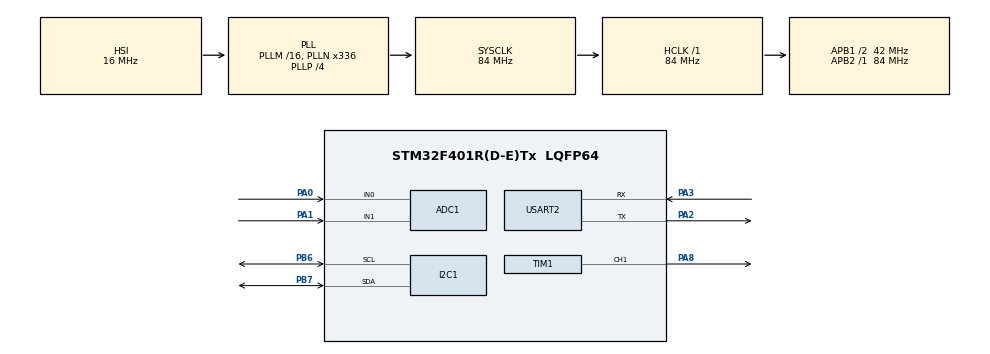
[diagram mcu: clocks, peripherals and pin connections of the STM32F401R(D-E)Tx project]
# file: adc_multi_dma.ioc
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ADC1.Channel-2\#ChannelRegularConversion=ADC_CHANNEL_1
ADC1.NbrOfConversion=2
ADC1.NbrOfConversionFlag=1
ADC1.Rank-2\#ChannelRegularConversion=2
ADC1.SamplingTime-0\#ChannelRegularConversion=ADC_SAMPLETIME_480CYCLES
ADC1.SamplingTime-2\#ChannelRegularConversion=ADC_SAMPLETIME_480CYCLES
ADC1.ScanConvMode=ENABLE
ADC1.master=1
Dma.ADC1.0.Direction=DMA_PERIPH_TO_MEMORY
Dma.ADC1.0.FIFOMode=DMA_FIFOMODE_DISABLE
Dma.ADC1.0.Instance=DMA2_Stream0
Dma.ADC1.0.MemDataAlignment=DMA_MDATAALIGN_HALFWORD
Dma.ADC1.0.MemInc=DMA_MINC_ENABLE
Dma.ADC1.0.Mode=DMA_NORMAL
Dma.ADC1.0.PeriphDataAlignment=DMA_PDATAALIGN_HALFWORD
Dma.ADC1.0.PeriphInc=DMA_PINC_DISABLE
Dma.ADC1.0.Priority=DMA_PRIORITY_LOW
Dma.Request0=ADC1
I2C1.DutyCycle=I2C_DUTYCYCLE_2
I2C1.I2C_Mode=I2C_Fast
Mcu.Family=STM32F4
Mcu.Name=STM32F401R(D-E)Tx
Mcu.Package=LQFP64
NVIC.ADC_IRQn=true\:0\:0\:true\:false\:true\:true\:true\:true
NVIC.DMA2_Stream0_IRQn=true\:0\:0\:false\:false\:true\:false\:true\:true
NVIC.PriorityGroup=NVIC_PRIORITYGROUP_0
PA0-WKUP.Signal=ADCx_IN0
PA1.Signal=ADCx_IN1
PA13.Mode=Serial_Wire
PA13.Signal=SYS_JTMS-SWDIO
PA14.Mode=Serial_Wire
PA14.Signal=SYS_JTCK-SWCLK
PA2.Mode=Asynchronous
PA2.Signal=USART2_TX
PA3.Mode=Asynchronous
PA3.Signal=USART2_RX
PA8.Signal=S_TIM1_CH1
PB6.Mode=I2C
PB6.Signal=I2C1_SCL
PB7.Mode=I2C
PB7.Signal=I2C1_SDA
ProjectManager.HeapSize=0x200
ProjectManager.StackSize=0x400
ProjectManager.TargetToolchain=STM32CubeIDE
RCC.AHBFreq_Value=84000000
RCC.APB1CLKDivider=RCC_HCLK_DIV2
RCC.APB1Freq_Value=42000000
RCC.APB1TimFreq_Value=84000000
RCC.APB2Freq_Value=84000000
RCC.APB2TimFreq_Value=84000000
RCC.CortexFreq_Value=84000000
RCC.HCLKFreq_Value=84000000
RCC.HSE_VALUE=8000000
RCC.HSI_VALUE=16000000
RCC.LSE_VALUE=32768
RCC.PLLN=336
RCC.PLLP=RCC_PLLP_DIV4
RCC.PLLQ=7
RCC.SYSCLKFreq_VALUE=84000000
RCC.SYSCLKSource=RCC_SYSCLKSOURCE_PLLCLK
RCC.VCOOutputFreq_Value=336000000
RTC.Date=17
RTC.Format=RTC_FORMAT_BIN
RTC.Hours=22
RTC.Minutes=21
RTC.Month=RTC_MONTH_JUNE
RTC.WeekDay=RTC_WEEKDAY_TUESDAY
SH.ADCx_IN0.0=ADC1_IN0,IN0
SH.ADCx_IN1.0=ADC1_IN1,IN1
SH.S_TIM1_CH1.0=TIM1_CH1,PWM Generation1 CH1
TIM1.Channel-PWM\ Generation1\ CH1=TIM_CHANNEL_1
TIM1.Period=100
TIM1.Prescaler=84-1
TIM1.Pulse-PWM\ Generation1\ CH1=100
USART2.VirtualMode=VM_ASYNC
VP_RTC_VS_RTC_Activate.Mode=RTC_Enabled
VP_RTC_VS_RTC_Calendar.Mode=RTC_Calendar
VP_TIM1_VS_ClockSourceINT.Mode=Internal
board=NUCLEO-F401RE

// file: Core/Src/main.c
/* USER CODE BEGIN Header */
/**
  ******************************************************************************
  * @file           : main.c
  * @brief          : Main program body
  ******************************************************************************
  * @attention
  *
  * Copyright (c) 2025 STMicroelectronics.
  * All rights reserved.
  *
  * This software is licensed under terms that can be found in the LICENSE file
  * in the root directory of this software component.
  * If no LICENSE file comes with this software, it is provided AS-IS.
  *
  ******************************************************************************
  */

/*
 * moisture 100% = (2020, 2050)
 * moisture 0%   = (4070. 4095)
 *
 * flux 100% => adc_val = 75
 * flux 0%   => adc_val = 4095
 *
 *
 */
/* USER CODE END Header */
#include "main.h"

/* USER CODE BEGIN Includes */
#include "main.h"
#include "adc.h"
#include "math.h"
#include "string.h"
#include "stdio.h"
#include "ssd1306.h"
#include "ssd1306_tests.h"
#include "ssd1306_fonts.h"

/* USER CODE END Includes */

I2C_HandleTypeDef hi2c1;

RTC_HandleTypeDef hrtc;

TIM_HandleTypeDef htim1;

UART_HandleTypeDef huart2;

/* USER CODE BEGIN PV */

float lux_percent;
float moisture_percent;

uint8_t data_0[]  = {0};
uint16_t data_25[] = {65000};
uint8_t data_50[] = {50};
uint8_t data_100[]= {100};

char time_buffer[100];		//buffer that will hold data for time and date
char disp_buffer[100];

/* USER CODE END PV */

void SystemClock_Config(void);
static void MX_GPIO_Init(void);
static void MX_DMA_Init(void);
static void MX_ADC1_Init(void);
static void MX_TIM1_Init(void);
static void MX_I2C1_Init(void);
static void MX_RTC_Init(void);
static void MX_USART2_UART_Init(void);
/* USER CODE BEGIN PFP */

void SystemClock_Config(void);
static void MX_GPIO_Init(void);
static void MX_DMA_Init(void);
float ConvertToMoisturePercent(uint16_t adc_value);
float ConvertToLuxPercent(uint16_t adc_value);

/* USER CODE END PFP */

int main(void)
{

  /* MCU Configuration--------------------------------------------------------*/

  /* Reset of all peripherals, Initializes the Flash interface and the Systick. */
  HAL_Init();

  /* Configure the system clock */
  SystemClock_Config();

  /* Initialize all configured peripherals */
  MX_GPIO_Init();
  MX_DMA_Init();
  MX_ADC1_Init();
  MX_TIM1_Init();
  MX_I2C1_Init();
  MX_RTC_Init();
  MX_USART2_UART_Init();
  /* USER CODE BEGIN 2 */
  My_ADC_Init();
  MX_TIM1_Init();
  ssd1306_Init();

  //IT STARTS
  /*
   * I CAN USE THIS FOR CONTROLOING THE LIGHT FOR THE PLANT
   *
   */HAL_TIM_PWM_Start_DMA(&htim1, TIM_CHANNEL_1, (uint32_t *)data_0, 1);
   RTC_TimeTypeDef	sTime;
   RTC_DateTypeDef sDate;

  /* USER CODE END 2 */

  /* Infinite loop */
  while (1)
  {

    /* USER CODE BEGIN 3 */

      __HAL_TIM_SET_COMPARE(&htim1, TIM_CHANNEL_1, 1000); // 50% duty cycle (500/1000)
      HAL_TIM_PWM_Start(&htim1, TIM_CHANNEL_1);

      // Change duty cycle
      __HAL_TIM_SET_COMPARE(&htim1, TIM_CHANNEL_1, 1000); // 75% duty

      // Stop PWM
      HAL_TIM_PWM_Stop(&htim1, TIM_CHANNEL_1);

	  HAL_RTC_GetTime(&hrtc, &sTime, RTC_FORMAT_BIN); // to get time
	  HAL_RTC_GetDate(&hrtc, &sDate, RTC_FORMAT_BIN);	// to get date

	  //format time and data into string
	  //TODO make a seprate file with RTC and make function to do this
	  sprintf(time_buffer, "H:%02d:%02d,D:%02d:%02d:%02d\r\n",
	          sTime.Hours, sTime.Minutes,
	          sDate.Date, sDate.Month, sDate.Year+2000);

	  HAL_UART_Transmit(&huart2, (uint8_t*)time_buffer, strlen(time_buffer), HAL_MAX_DELAY);

	  //transmit string to uart for debugging
	  //Todo transmit this to 0.96 display

      uint16_t current_lux, current_moisture;

      ADC_GetValues(&current_lux, &current_moisture);

      moisture_percent = ConvertToMoisturePercent(current_moisture);
      lux_percent = ConvertToLuxPercent(current_lux);

      if (moisture_percent < 40) {
          // Soil too dry → Turn pump ON (100% PWM)
          HAL_TIM_PWM_Start_DMA(&htim1, TIM_CHANNEL_1, (uint32_t *)data_100, 1);
          HAL_Delay(250); // Short burst of water
          HAL_TIM_PWM_Stop_DMA(&htim1, TIM_CHANNEL_1); // Turn OFF
          HAL_Delay(100); // Wait before next check
      }
      else if (moisture_percent > 60) {
          // Soil too wet → Keep pump OFF
          HAL_TIM_PWM_Stop_DMA(&htim1, TIM_CHANNEL_1);
      }

      char text_moisture[32];
      char text_lux[32];
      sprintf(text_moisture, "Moisture: %.0f", moisture_percent);
      sprintf(text_lux, "Lux: %.0f", lux_percent);

      ssd1306_Fill(Black);
      ssd1306_SetCursor(0, 30);
      ssd1306_WriteString(text_moisture, Font_7x10, White);
      ssd1306_SetCursor(0, 40);
      ssd1306_WriteString(text_lux, Font_7x10, White);
      ssd1306_SetCursor(0, 0);
      ssd1306_WriteString(time_buffer, Font_6x8, White);
      ssd1306_UpdateScreen();

      HAL_TIM_PWM_Start(&htim1, TIM_CHANNEL_1);
      HAL_Delay(1000);
      HAL_TIM_PWM_Stop(&htim1, TIM_CHANNEL_1);

      if (moisture_percent < 40) {

          HAL_TIM_PWM_Start_DMA(&htim1, TIM_CHANNEL_1, (uint32_t *)data_100, 1);
          HAL_GPIO_WritePin(GPIOB, GPIO_PIN_0, GPIO_PIN_SET);
          HAL_Delay(250);
          HAL_TIM_PWM_Stop_DMA(&htim1, TIM_CHANNEL_1);
          HAL_GPIO_WritePin(GPIOB, GPIO_PIN_0, GPIO_PIN_RESET);
          HAL_Delay(100);
      }
      else if (moisture_percent > 60) {

          HAL_TIM_PWM_Stop_DMA(&htim1, TIM_CHANNEL_1);
          HAL_GPIO_WritePin(GPIOB, GPIO_PIN_0, GPIO_PIN_RESET);
      }

      HAL_Delay(1000);

  }
  /* USER CODE END 3 */
}

void SystemClock_Config(void)
{
  RCC_OscInitTypeDef RCC_OscInitStruct = {0};
  RCC_ClkInitTypeDef RCC_ClkInitStruct = {0};

  /** Configure the main internal regulator output voltage
  */
  __HAL_RCC_PWR_CLK_ENABLE();
  __HAL_PWR_VOLTAGESCALING_CONFIG(PWR_REGULATOR_VOLTAGE_SCALE2);

  /** Initializes the RCC Oscillators according to the specified parameters
  * in the RCC_OscInitTypeDef structure.
  */
  RCC_OscInitStruct.OscillatorType = RCC_OSCILLATORTYPE_HSI|RCC_OSCILLATORTYPE_LSI;
  RCC_OscInitStruct.HSIState = RCC_HSI_ON;
  RCC_OscInitStruct.HSICalibrationValue = RCC_HSICALIBRATION_DEFAULT;
  RCC_OscInitStruct.LSIState = RCC_LSI_ON;
  RCC_OscInitStruct.PLL.PLLState = RCC_PLL_ON;
  RCC_OscInitStruct.PLL.PLLSource = RCC_PLLSOURCE_HSI;
  RCC_OscInitStruct.PLL.PLLM = 16;
  RCC_OscInitStruct.PLL.PLLN = 336;
  RCC_OscInitStruct.PLL.PLLP = RCC_PLLP_DIV4;
  RCC_OscInitStruct.PLL.PLLQ = 7;
  if (HAL_RCC_OscConfig(&RCC_OscInitStruct) != HAL_OK)
  {
    Error_Handler();
  }

  /** Initializes the CPU, AHB and APB buses clocks
  */
  RCC_ClkInitStruct.ClockType = RCC_CLOCKTYPE_HCLK|RCC_CLOCKTYPE_SYSCLK
                              |RCC_CLOCKTYPE_PCLK1|RCC_CLOCKTYPE_PCLK2;
  RCC_ClkInitStruct.SYSCLKSource = RCC_SYSCLKSOURCE_PLLCLK;
  RCC_ClkInitStruct.AHBCLKDivider = RCC_SYSCLK_DIV1;
  RCC_ClkInitStruct.APB1CLKDivider = RCC_HCLK_DIV2;
  RCC_ClkInitStruct.APB2CLKDivider = RCC_HCLK_DIV1;

  if (HAL_RCC_ClockConfig(&RCC_ClkInitStruct, FLASH_LATENCY_2) != HAL_OK)
  {
    Error_Handler();
  }
}

static void MX_ADC1_Init(void)
{

  ADC_ChannelConfTypeDef sConfig = {0};

  /** Configure the global features of the ADC (Clock, Resolution, Data Alignment and number of conversion)
  */
  hadc1.Instance = ADC1;
  hadc1.Init.ClockPrescaler = ADC_CLOCK_SYNC_PCLK_DIV4;
  hadc1.Init.Resolution = ADC_RESOLUTION_12B;
  hadc1.Init.ScanConvMode = ENABLE;
  hadc1.Init.ContinuousConvMode = DISABLE;
  hadc1.Init.DiscontinuousConvMode = DISABLE;
  hadc1.Init.ExternalTrigConvEdge = ADC_EXTERNALTRIGCONVEDGE_NONE;
  hadc1.Init.ExternalTrigConv = ADC_SOFTWARE_START;
  hadc1.Init.DataAlign = ADC_DATAALIGN_RIGHT;
  hadc1.Init.NbrOfConversion = 2;
  hadc1.Init.DMAContinuousRequests = DISABLE;
  hadc1.Init.EOCSelection = ADC_EOC_SINGLE_CONV;
  if (HAL_ADC_Init(&hadc1) != HAL_OK)
  {
    Error_Handler();
  }

  /** Configure for the selected ADC regular channel its corresponding rank in the sequencer and its sample time.
  */
  sConfig.Channel = ADC_CHANNEL_1;
  sConfig.Rank = 2;
  sConfig.SamplingTime = ADC_SAMPLETIME_480CYCLES;
  if (HAL_ADC_ConfigChannel(&hadc1, &sConfig) != HAL_OK)
  {
    Error_Handler();
  }

  /** Configure for the selected ADC regular channel its corresponding rank in the sequencer and its sample time.
  */
  sConfig.Channel = ADC_CHANNEL_0;
  sConfig.Rank = 1;
  if (HAL_ADC_ConfigChannel(&hadc1, &sConfig) != HAL_OK)
  {
    Error_Handler();
  }

}

static void MX_I2C1_Init(void)
{

  hi2c1.Instance = I2C1;
  hi2c1.Init.ClockSpeed = 400000;
  hi2c1.Init.DutyCycle = I2C_DUTYCYCLE_2;
  hi2c1.Init.OwnAddress1 = 0;
  hi2c1.Init.AddressingMode = I2C_ADDRESSINGMODE_7BIT;
  hi2c1.Init.DualAddressMode = I2C_DUALADDRESS_DISABLE;
  hi2c1.Init.OwnAddress2 = 0;
  hi2c1.Init.GeneralCallMode = I2C_GENERALCALL_DISABLE;
  hi2c1.Init.NoStretchMode = I2C_NOSTRETCH_DISABLE;
  if (HAL_I2C_Init(&hi2c1) != HAL_OK)
  {
    Error_Handler();
  }

}

static void MX_RTC_Init(void)
{

  RTC_TimeTypeDef sTime = {0};
  RTC_DateTypeDef sDate = {0};

  /** Initialize RTC Only
  */
  hrtc.Instance = RTC;
  hrtc.Init.HourFormat = RTC_HOURFORMAT_24;
  hrtc.Init.AsynchPrediv = 127;
  hrtc.Init.SynchPrediv = 255;
  hrtc.Init.OutPut = RTC_OUTPUT_DISABLE;
  hrtc.Init.OutPutPolarity = RTC_OUTPUT_POLARITY_HIGH;
  hrtc.Init.OutPutType = RTC_OUTPUT_TYPE_OPENDRAIN;
  if (HAL_RTC_Init(&hrtc) != HAL_OK)
  {
    Error_Handler();
  }

  /** Initialize RTC and set the Time and Date
  */
  sTime.Hours = 22;
  sTime.Minutes = 21;
  sTime.Seconds = 0;
  sTime.DayLightSaving = RTC_DAYLIGHTSAVING_NONE;
  sTime.StoreOperation = RTC_STOREOPERATION_RESET;
  if (HAL_RTC_SetTime(&hrtc, &sTime, RTC_FORMAT_BIN) != HAL_OK)
  {
    Error_Handler();
  }
  sDate.WeekDay = RTC_WEEKDAY_TUESDAY;
  sDate.Month = RTC_MONTH_JUNE;
  sDate.Date = 17;
  sDate.Year = 0;

  if (HAL_RTC_SetDate(&hrtc, &sDate, RTC_FORMAT_BIN) != HAL_OK)
  {
    Error_Handler();
  }

}

static void MX_TIM1_Init(void)
{

  TIM_ClockConfigTypeDef sClockSourceConfig = {0};
  TIM_MasterConfigTypeDef sMasterConfig = {0};
  TIM_OC_InitTypeDef sConfigOC = {0};
  TIM_BreakDeadTimeConfigTypeDef sBreakDeadTimeConfig = {0};

  htim1.Instance = TIM1;
  htim1.Init.Prescaler = 84-1;
  htim1.Init.CounterMode = TIM_COUNTERMODE_UP;
  htim1.Init.Period = 100;
  htim1.Init.ClockDivision = TIM_CLOCKDIVISION_DIV1;
  htim1.Init.RepetitionCounter = 0;
  htim1.Init.AutoReloadPreload = TIM_AUTORELOAD_PRELOAD_DISABLE;
  if (HAL_TIM_Base_Init(&htim1) != HAL_OK)
  {
    Error_Handler();
  }
  sClockSourceConfig.ClockSource = TIM_CLOCKSOURCE_INTERNAL;
  if (HAL_TIM_ConfigClockSource(&htim1, &sClockSourceConfig) != HAL_OK)
  {
    Error_Handler();
  }
  if (HAL_TIM_PWM_Init(&htim1) != HAL_OK)
  {
    Error_Handler();
  }
  sMasterConfig.MasterOutputTrigger = TIM_TRGO_RESET;
  sMasterConfig.MasterSlaveMode = TIM_MASTERSLAVEMODE_DISABLE;
  if (HAL_TIMEx_MasterConfigSynchronization(&htim1, &sMasterConfig) != HAL_OK)
  {
    Error_Handler();
  }
  sConfigOC.OCMode = TIM_OCMODE_PWM1;
  sConfigOC.Pulse = 100;
  sConfigOC.OCPolarity = TIM_OCPOLARITY_HIGH;
  sConfigOC.OCNPolarity = TIM_OCNPOLARITY_HIGH;
  sConfigOC.OCFastMode = TIM_OCFAST_DISABLE;
  sConfigOC.OCIdleState = TIM_OCIDLESTATE_RESET;
  sConfigOC.OCNIdleState = TIM_OCNIDLESTATE_RESET;
  if (HAL_TIM_PWM_ConfigChannel(&htim1, &sConfigOC, TIM_CHANNEL_1) != HAL_OK)
  {
    Error_Handler();
  }
  sBreakDeadTimeConfig.OffStateRunMode = TIM_OSSR_DISABLE;
  sBreakDeadTimeConfig.OffStateIDLEMode = TIM_OSSI_DISABLE;
  sBreakDeadTimeConfig.LockLevel = TIM_LOCKLEVEL_OFF;
  sBreakDeadTimeConfig.DeadTime = 0;
  sBreakDeadTimeConfig.BreakState = TIM_BREAK_DISABLE;
  sBreakDeadTimeConfig.BreakPolarity = TIM_BREAKPOLARITY_HIGH;
  sBreakDeadTimeConfig.AutomaticOutput = TIM_AUTOMATICOUTPUT_DISABLE;
  if (HAL_TIMEx_ConfigBreakDeadTime(&htim1, &sBreakDeadTimeConfig) != HAL_OK)
  {
    Error_Handler();
  }
  HAL_TIM_MspPostInit(&htim1);

}

static void MX_USART2_UART_Init(void)
{

  huart2.Instance = USART2;
  huart2.Init.BaudRate = 115200;
  huart2.Init.WordLength = UART_WORDLENGTH_8B;
  huart2.Init.StopBits = UART_STOPBITS_1;
  huart2.Init.Parity = UART_PARITY_NONE;
  huart2.Init.Mode = UART_MODE_TX_RX;
  huart2.Init.HwFlowCtl = UART_HWCONTROL_NONE;
  huart2.Init.OverSampling = UART_OVERSAMPLING_16;
  if (HAL_UART_Init(&huart2) != HAL_OK)
  {
    Error_Handler();
  }

}

static void MX_DMA_Init(void)
{

  /* DMA controller clock enable */
  __HAL_RCC_DMA2_CLK_ENABLE();

  /* DMA interrupt init */
  /* DMA2_Stream0_IRQn interrupt configuration */
  HAL_NVIC_SetPriority(DMA2_Stream0_IRQn, 0, 0);
  HAL_NVIC_EnableIRQ(DMA2_Stream0_IRQn);

}

static void MX_GPIO_Init(void)
{

  /* GPIO Ports Clock Enable */
  __HAL_RCC_GPIOA_CLK_ENABLE();
  __HAL_RCC_GPIOB_CLK_ENABLE();

  /* USER CODE BEGIN MX_GPIO_Init_2 */
  GPIO_InitTypeDef GPIO_InitStruct = {0};

    /* GPIO Ports Clock Enable */
    __HAL_RCC_GPIOA_CLK_ENABLE();
    __HAL_RCC_GPIOB_CLK_ENABLE();

    /*Configure GPIO pin Output Level */
    HAL_GPIO_WritePin(GPIOB, GPIO_PIN_0, GPIO_PIN_RESET);

    /*Configure GPIO pin : PB0 (Pump Control) */
    GPIO_InitStruct.Pin = GPIO_PIN_0;
    GPIO_InitStruct.Mode = GPIO_MODE_OUTPUT_PP;
    GPIO_InitStruct.Pull = GPIO_NOPULL;
    GPIO_InitStruct.Speed = GPIO_SPEED_FREQ_LOW;
    HAL_GPIO_Init(GPIOB, &GPIO_InitStruct);

  /* USER CODE END MX_GPIO_Init_2 */
}

/* USER CODE BEGIN 4 */
float ConvertToMoisturePercent(uint16_t adc_value)
{
    const uint16_t MOISTURE_100 = 2020;
    const uint16_t MOISTURE_0 = 4095;

    float percent = 100.0f * (MOISTURE_0 - adc_value) / (MOISTURE_0 - MOISTURE_100);

    // Constrain and round to 1 decimal place
    percent = (percent > 100) ? 100 : ((percent < 0) ? 0 : percent);
    return roundf(percent * 10) / 10;  // Round to 1 decimal
}

float ConvertToLuxPercent(uint16_t adc_value)
{
    const uint16_t LUX_100 = 0;
    const uint16_t LUX_0 = 4095;

    float percent = 100.0f * (LUX_0 - adc_value) / (LUX_0 - LUX_100);

    // Constrain and round to 1 decimal place
    percent = (percent > 100) ? 100 : ((percent < 0) ? 0 : percent);
    return roundf(percent * 10) / 10;  // Round to 1 decimal
}
/* USER CODE END 4 */

void Error_Handler(void)
{
  __disable_irq();
  while (1)
  {
  }
}
